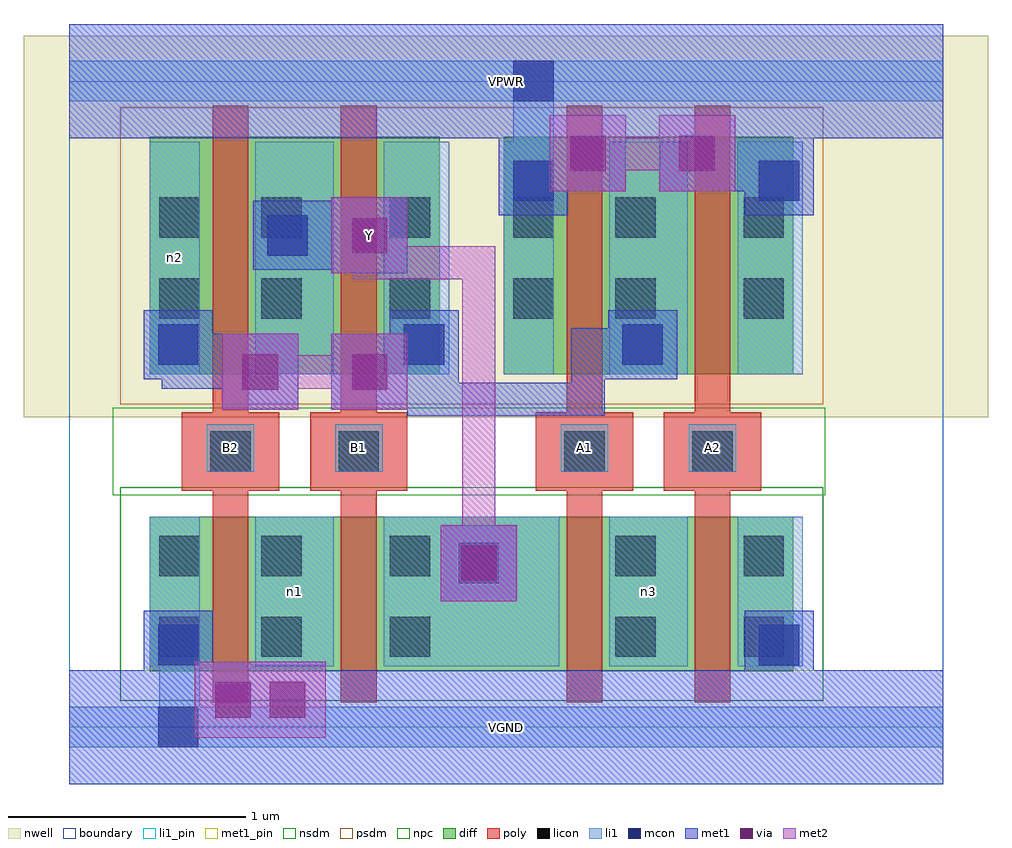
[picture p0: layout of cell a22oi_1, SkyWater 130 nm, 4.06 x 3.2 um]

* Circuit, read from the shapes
.subckt a22oi_1 A1 A2 B1 B2 VGND VPWR Y n1 n2 n3
XM1 n1 B2 VGND VSUBS sky130_fd_pr__nfet_01v8 w=0.65 l=0.15
XM2 Y B1 n1 VSUBS sky130_fd_pr__nfet_01v8 w=0.65 l=0.15
XM3 n3 A1 Y VSUBS sky130_fd_pr__nfet_01v8 w=0.65 l=0.15
XM4 VGND A2 n3 VSUBS sky130_fd_pr__nfet_01v8 w=0.65 l=0.15
XM5 Y B2 n2 n4 sky130_fd_pr__pfet_01v8 w=1 l=0.15
XM6 n2 B1 Y n4 sky130_fd_pr__pfet_01v8 w=1 l=0.15
XM7 n2 A1 VPWR n4 sky130_fd_pr__pfet_01v8 w=1 l=0.15
XM8 VPWR A2 n2 n4 sky130_fd_pr__pfet_01v8 w=1 l=0.15
.ends

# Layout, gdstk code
import gdstk
lib = gdstk.Library(unit=1e-6, precision=1e-09)
def R(c, l, rs):  # rectangles x0, y0, x1, y1
    for r in rs: c.add(gdstk.rectangle(r[:2], r[2:], *l))
nwell = (64, 20)
diff = (65, 20)
poly = (66, 20)
licon = (66, 44)
li1_pin = (67, 16)
li1 = (67, 20)
mcon = (67, 44)
met1_pin = (68, 16)
met1 = (68, 20)
via = (68, 44)
met2 = (69, 20)
nsdm = (93, 44)
psdm = (94, 20)
npc = (95, 20)
boundary = (235, 4)

a22oi_1 = lib.new_cell('a22oi_1')
R(a22oi_1, nwell, [(-0.19,1.305,3.87,2.91), (0,1.305,3.68,2.91)])
R(a22oi_1, diff, [(0.34,0.235,3.05,0.885), (0.34,1.485,1.56,2.485), (1.83,1.485,3.05,2.485)])
R(a22oi_1, poly, [(0.605,0.105,0.755,2.615), (1.145,0.105,1.295,2.615), (2.095,0.105,2.245,2.615), (2.635,0.105,2.785,2.615), (0.475,0.995,0.885,1.325), (1.015,0.995,1.425,1.325), (1.965,0.995,2.375,1.325), (2.505,0.995,2.915,1.325)])
R(a22oi_1, licon, [(0.38,0.295,0.55,0.465), (0.81,0.295,0.98,0.465), (1.35,0.295,1.52,0.465), (2.3,0.295,2.47,0.465), (2.84,0.295,3.01,0.465), (0.38,0.635,0.55,0.805), (0.81,0.635,0.98,0.805), (1.35,0.635,1.52,0.805), (2.3,0.635,2.47,0.805), (2.84,0.635,3.01,0.805), (0.595,1.075,0.765,1.245), (1.135,1.075,1.305,1.245), (2.085,1.075,2.255,1.245), (2.625,1.075,2.795,1.245), (0.38,1.72,0.55,1.89), (0.81,1.72,0.98,1.89), (1.35,1.72,1.52,1.89), (1.87,1.72,2.04,1.89), (2.3,1.72,2.47,1.89), (2.84,1.72,3.01,1.89), (0.38,2.06,0.55,2.23), (0.81,2.06,0.98,2.23), (1.35,2.06,1.52,2.23), (1.87,2.06,2.04,2.23), (2.3,2.06,2.47,2.23), (2.84,2.06,3.01,2.23)])
R(a22oi_1, li1_pin, [(0.58,1.075,0.78,1.275), (1.12,1.075,1.32,1.275), (2.07,1.075,2.27,1.275), (2.61,1.075,2.81,1.275)])
R(a22oi_1, li1, [(0,-0.085,3.68,0.085), (0.38,-0.085,0.55,0.805), (0.34,0.255,0.55,0.885), (0.785,0.255,1.115,0.885), (1.325,0.255,2.065,0.885), (2.275,0.255,2.605,0.885), (2.815,0.255,3.09,0.885), (0.58,1.075,0.78,1.275), (1.12,1.075,1.32,1.275), (2.07,1.075,2.27,1.275), (2.61,1.075,2.81,1.275), (0.34,1.485,0.55,2.465), (0.785,1.485,1.115,2.465), (1.325,1.485,1.6,2.465), (1.83,1.485,2.04,2.465), (2.275,1.485,2.605,2.465), (2.815,1.485,3.09,2.465), (1.87,1.72,2.04,2.805), (0,2.635,3.68,2.805)])
R(a22oi_1, mcon, [(0.375,-0.085,0.545,0.085), (0.375,0.26,0.545,0.43), (2.905,0.26,3.075,0.43), (1.64,0.605,1.81,0.775), (0.375,1.525,0.545,1.695), (1.41,1.525,1.58,1.695), (2.33,1.525,2.5,1.695), (0.835,1.985,1.005,2.155), (1.87,2.215,2.04,2.385), (2.905,2.215,3.075,2.385), (1.87,2.635,2.04,2.805)])
R(a22oi_1, met1_pin, [(0,-0.24,3.68,0.24), (1.105,1.91,1.425,2.23), (0,2.48,3.68,2.96)])
R(a22oi_1, met1, [(0,-0.24,3.68,0.24), (0.315,-0.145,0.605,0.145), (0.39,-0.07,0.53,0.185), (0.53,-0.045,0.85,0.275), (0.76,-0.045,1.08,0.275), (0.39,0.045,0.53,0.185), (0.39,0.045,0.53,0.415), (0.39,0.045,0.76,0.185), (0.85,0.045,3.06,0.185), (2.92,0.045,3.06,0.415), (0.315,0.2,0.605,0.49), (2.845,0.2,3.135,0.49), (1.565,0.53,1.885,0.85), (1.58,0.545,1.87,0.835), (1.425,1.31,1.565,1.68), (1.425,1.31,2.255,1.45), (2.115,1.31,2.255,1.68), (0.645,1.335,0.965,1.655), (1.105,1.335,1.425,1.655), (0.39,1.425,0.53,1.68), (0.39,1.425,0.875,1.565), (0.53,1.425,0.645,1.655), (1.195,1.425,1.565,1.565), (1.425,1.45,1.64,1.465), (0.315,1.465,0.605,1.755), (0.605,1.465,0.645,1.655), (1.35,1.465,1.64,1.755), (2.255,1.465,2.27,1.68), (2.27,1.465,2.56,1.755), (2.115,1.54,2.485,1.68), (1.105,1.91,1.425,2.23), (0.775,1.925,1.065,2.215), (1.065,1.925,1.105,2.215), (0.85,2,1.335,2.14), (1.81,2.155,2.1,2.445), (2.845,2.155,3.135,2.445), (1.885,2.23,2.025,2.6), (2.92,2.23,3.06,2.485), (2.025,2.255,2.345,2.575), (2.485,2.255,2.805,2.575), (2.805,2.255,2.845,2.445), (2.805,2.255,2.92,2.485), (1.885,2.345,2.255,2.485), (2.575,2.345,3.06,2.485), (1.81,2.445,2.1,2.48), (1.81,2.445,2.1,2.575), (2.845,2.445,3.135,2.48), (1.885,2.46,2.025,2.715), (1.885,2.46,2.025,2.79), (0,2.48,3.68,2.96), (1.81,2.575,2.1,2.865), (1.885,2.575,2.025,2.715)])
R(a22oi_1, via, [(0.615,0.04,0.765,0.19), (0.845,0.04,0.995,0.19), (1.65,0.615,1.8,0.765), (0.73,1.42,0.88,1.57), (1.19,1.42,1.34,1.57), (1.19,1.995,1.34,2.145), (2.11,2.34,2.26,2.49), (2.57,2.34,2.72,2.49)])
R(a22oi_1, met2, [(0.53,-0.045,0.85,0.275), (0.76,-0.045,1.08,0.275), (0.62,0.045,0.99,0.185), (1.565,0.53,1.885,0.85), (1.655,0.62,1.795,2.025), (0.645,1.335,0.965,1.655), (1.105,1.335,1.425,1.655), (0.735,1.425,1.335,1.565), (1.195,1.885,1.795,2.025), (1.195,1.885,1.335,2.14), (1.105,1.91,1.425,2.23), (2.025,2.255,2.345,2.575), (2.485,2.255,2.805,2.575), (2.115,2.345,2.715,2.485)])
R(a22oi_1, nsdm, [(0.215,0.11,3.175,1.01)])
R(a22oi_1, psdm, [(0.215,1.36,3.175,2.61)])
R(a22oi_1, npc, [(0.185,0.975,3.185,1.345)])
R(a22oi_1, boundary, [(0,0,3.68,2.72)])
a22oi_1.add(gdstk.Label('B2', (0.68,1.175), layer=67, texttype=5))
a22oi_1.add(gdstk.Label('B1', (1.22,1.175), layer=67, texttype=5))
a22oi_1.add(gdstk.Label('A1', (2.17,1.175), layer=67, texttype=5))
a22oi_1.add(gdstk.Label('A2', (2.71,1.175), layer=67, texttype=5))
a22oi_1.add(gdstk.Label('n1', (0.95,0.57), layer=67, texttype=5))
a22oi_1.add(gdstk.Label('n3', (2.44,0.57), layer=67, texttype=5))
a22oi_1.add(gdstk.Label('n2', (0.445,1.975), layer=67, texttype=5))
a22oi_1.add(gdstk.Label('Y', (1.265,2.07), layer=68, texttype=5))
a22oi_1.add(gdstk.Label('VPWR', (1.84,2.72), layer=68, texttype=5))
a22oi_1.add(gdstk.Label('VGND', (1.84,0), layer=68, texttype=5))
a22oi_1.add(gdstk.Label('B2', (0.68,1.175), layer=67, texttype=16))
a22oi_1.add(gdstk.Label('B1', (1.22,1.175), layer=67, texttype=16))
a22oi_1.add(gdstk.Label('A1', (2.17,1.175), layer=67, texttype=16))
a22oi_1.add(gdstk.Label('A2', (2.71,1.175), layer=67, texttype=16))
a22oi_1.add(gdstk.Label('Y', (1.265,2.07), layer=68, texttype=16))
a22oi_1.add(gdstk.Label('VPWR', (1.84,2.72), layer=68, texttype=16))
a22oi_1.add(gdstk.Label('VGND', (1.84,0), layer=68, texttype=16))

lib.write_gds('a22oi_1.gds')
